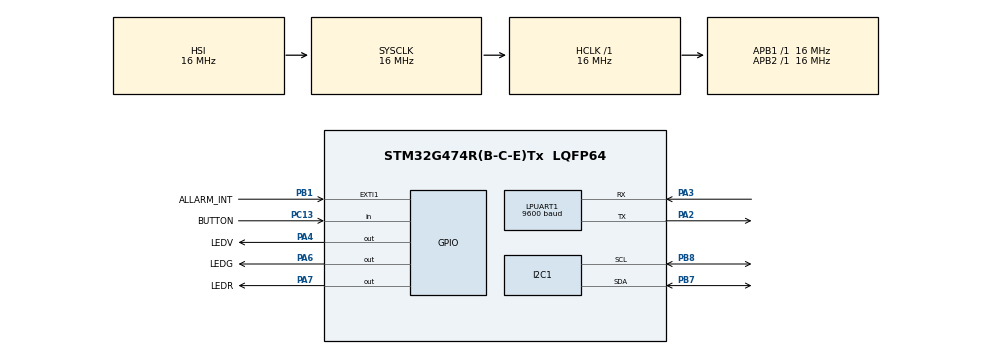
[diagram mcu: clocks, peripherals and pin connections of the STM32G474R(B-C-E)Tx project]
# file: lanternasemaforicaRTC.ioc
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I2C1.Timing=0x00503D58
LPUART1.BaudRate=9600
Mcu.Family=STM32G4
Mcu.Name=STM32G474R(B-C-E)Tx
Mcu.Package=LQFP64
NVIC.EXTI1_IRQn=true\:0\:0\:false\:false\:true\:true\:true\:true
NVIC.LPUART1_IRQn=true\:0\:0\:false\:false\:true\:true\:true\:true
NVIC.PriorityGroup=NVIC_PRIORITYGROUP_4
NVIC.TIM6_DAC_IRQn=true\:0\:0\:false\:false\:true\:true\:true\:true
PA2.Mode=Asynchronous
PA2.Signal=LPUART1_TX
PA3.Mode=Asynchronous
PA3.Signal=LPUART1_RX
PA4.GPIO_Label=LEDV
PA4.Signal=GPIO_Output
PA6.GPIO_Label=LEDG
PA6.Signal=GPIO_Output
PA7.GPIO_Label=LEDR
PA7.Signal=GPIO_Output
PB1.GPIO_Label=ALLARM_INT
PB1.GPIO_ModeDefaultEXTI=GPIO_MODE_IT_FALLING
PB1.GPIO_PuPd=GPIO_PULLUP
PB1.Signal=GPXTI1
PB7.Mode=I2C
PB7.Signal=I2C1_SDA
PB8-BOOT0.Mode=I2C
PB8-BOOT0.Signal=I2C1_SCL
PC13.GPIO_Label=BUTTON
PC13.Signal=GPIO_Input
ProjectManager.HeapSize=0x200
ProjectManager.StackSize=0x400
ProjectManager.TargetToolchain=STM32CubeIDE
RCC.AHBFreq_Value=16000000
RCC.APB1Freq_Value=16000000
RCC.APB1TimFreq_Value=16000000
RCC.APB2Freq_Value=16000000
RCC.APB2TimFreq_Value=16000000
RCC.CortexFreq_Value=16000000
RCC.EXTERNAL_CLOCK_VALUE=12288000
RCC.HCLKFreq_Value=16000000
RCC.HSE_VALUE=8000000
RCC.HSI48_VALUE=48000000
RCC.HSI_VALUE=16000000
RCC.LSE_VALUE=32768
RCC.SYSCLKFreq_VALUE=16000000
RCC.USBFreq_Value=64000000
RCC.VCOOutputFreq_Value=128000000
TIM6.PeriodNoDither=4999
TIM6.Prescaler=15999
VP_SYS_VS_DBSignals.Mode=DisableDeadBatterySignals
VP_TIM6_VS_ClockSourceINT.Mode=Enable_Timer
board=custom

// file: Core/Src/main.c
/* USER CODE BEGIN Header */
/**
  ******************************************************************************
  * @file           : main.c
  * @brief          : Main program body
  ******************************************************************************
  * @attention
  *
  * Copyright (c) 2026 STMicroelectronics.
  * All rights reserved.
  *
  * This software is licensed under terms that can be found in the LICENSE file
  * in the root directory of this software component.
  * If no LICENSE file comes with this software, it is provided AS-IS.
  *
  ******************************************************************************
  */
/* USER CODE END Header */
#include "main.h"
#include "i2c.h"
#include "usart.h"
#include "tim.h"
#include "gpio.h"

/* USER CODE BEGIN Includes */
#include "fsm_logic.h"
#include "ds3231_for_stm32_hal.h"

/* USER CODE END Includes */

void SystemClock_Config(void);

int main(void)
{

  /* USER CODE BEGIN 1 */
  //dichiaro le variabili per il semaforo
  led_t green;
  led_t yellow;
  led_t red;
  timer_t timer;
  button_t button;

  /* USER CODE END 1 */

  /* MCU Configuration--------------------------------------------------------*/

  /* Reset of all peripherals, Initializes the Flash interface and the Systick. */
  HAL_Init();

  /* Configure the system clock */
  SystemClock_Config();

  /* Initialize all configured peripherals */
  MX_GPIO_Init();
  MX_I2C1_Init();
  MX_LPUART1_UART_Init();
  MX_TIM6_Init();
  /* USER CODE BEGIN 2 */
  //inizializzo il DS3231 al bus I2C1
  DS3231_Init(&hi2c1);
  //disabilito le interruzioni, le attivo solo dopo aver configurato il DS3231
  __disable_irq();

  //setto l'ora di partenza sul DS3231
  DS3231_SetFullTime(10, 44, 30);
  // giorno=5, mese=6, venerdì=5, anno=2025
  DS3231_SetFullDate(5, 6, 5, 2025);

  //Dice al DS3231 come usare il pin /SQW:
  DS3231_SetInterruptMode(DS3231_ALARM_INTERRUPT); // in questo caso per l allarme
  DS3231_ClearAlarm1Flag(); //pulisco il flag di allarme 1, per far si che non venga generato un altro interrupt

  // Alarm1: venerdì 10:45:00 -> ATTIVO
  DS3231_EnableAlarm1(DS3231_ENABLED);
  DS3231_SetAlarm1Mode(DS3231_A1_MATCH_S_M_H_DAY);// l allarme scatta quando la data e l ora sono uguali a quelle settate
  DS3231_SetAlarm1Second(0);
  DS3231_SetAlarm1Minute(45);
  DS3231_SetAlarm1Hour(10);
  DS3231_SetAlarm1Day(5);

  // Alarm2: venerdì 10:48 -> INATTIVO
  DS3231_ClearAlarm2Flag();
  DS3231_EnableAlarm2(DS3231_ENABLED);
  DS3231_SetAlarm2Mode(DS3231_A2_MATCH_M_H_DAY);
  DS3231_SetAlarm2Minute(48);
  DS3231_SetAlarm2Hour(10);
  DS3231_SetAlarm2Day(5);

  //riabilito le interruzioni
  __enable_irq();

  if (led_init(&green,  LEDV_GPIO_Port, LEDV_Pin, LED_INIT_STATE_OFF) != LED_OK) return -1;
  if (led_init(&yellow, LEDG_GPIO_Port, LEDG_Pin, LED_INIT_STATE_OFF) != LED_OK) return -1;
  if (led_init(&red,    LEDR_GPIO_Port, LEDR_Pin, LED_INIT_STATE_OFF) != LED_OK) return -1;

  if (button_init(&button, BUTTON_GPIO_Port, BUTTON_Pin, BUTTON_INIT_STATE_OFF) != BUTTON_OK)
      return -1;

  if (timer_init(&timer, &htim6, 16000000) != TIMER_OK)
      return -1;

  if (FSM_init(&button, &timer, &green, &yellow, &red) != FSM_OK)
      return -1;

  /* USER CODE END 2 */

  /* Infinite loop */
  /* USER CODE BEGIN WHILE */
  while (1)
  {
    if (FSM_step() != FSM_OK)
        return -1;
    /* USER CODE END WHILE */

  }
}

void SystemClock_Config(void)
{
  RCC_OscInitTypeDef RCC_OscInitStruct = {0};
  RCC_ClkInitTypeDef RCC_ClkInitStruct = {0};

  /** Configure the main internal regulator output voltage
  */
  HAL_PWREx_ControlVoltageScaling(PWR_REGULATOR_VOLTAGE_SCALE1);

  /** Initializes the RCC Oscillators according to the specified parameters
  * in the RCC_OscInitTypeDef structure.
  */
  RCC_OscInitStruct.OscillatorType = RCC_OSCILLATORTYPE_HSI;
  RCC_OscInitStruct.HSIState = RCC_HSI_ON;
  RCC_OscInitStruct.HSICalibrationValue = RCC_HSICALIBRATION_DEFAULT;
  RCC_OscInitStruct.PLL.PLLState = RCC_PLL_NONE;
  if (HAL_RCC_OscConfig(&RCC_OscInitStruct) != HAL_OK)
  {
    Error_Handler();
  }

  /** Initializes the CPU, AHB and APB buses clocks
  */
  RCC_ClkInitStruct.ClockType = RCC_CLOCKTYPE_HCLK|RCC_CLOCKTYPE_SYSCLK
                              |RCC_CLOCKTYPE_PCLK1|RCC_CLOCKTYPE_PCLK2;
  RCC_ClkInitStruct.SYSCLKSource = RCC_SYSCLKSOURCE_HSI;
  RCC_ClkInitStruct.AHBCLKDivider = RCC_SYSCLK_DIV1;
  RCC_ClkInitStruct.APB1CLKDivider = RCC_HCLK_DIV1;
  RCC_ClkInitStruct.APB2CLKDivider = RCC_HCLK_DIV1;

  if (HAL_RCC_ClockConfig(&RCC_ClkInitStruct, FLASH_LATENCY_0) != HAL_OK)
  {
    Error_Handler();
  }
}

void Error_Handler(void)
{
  __disable_irq();
  while (1)
  {
  }
}
